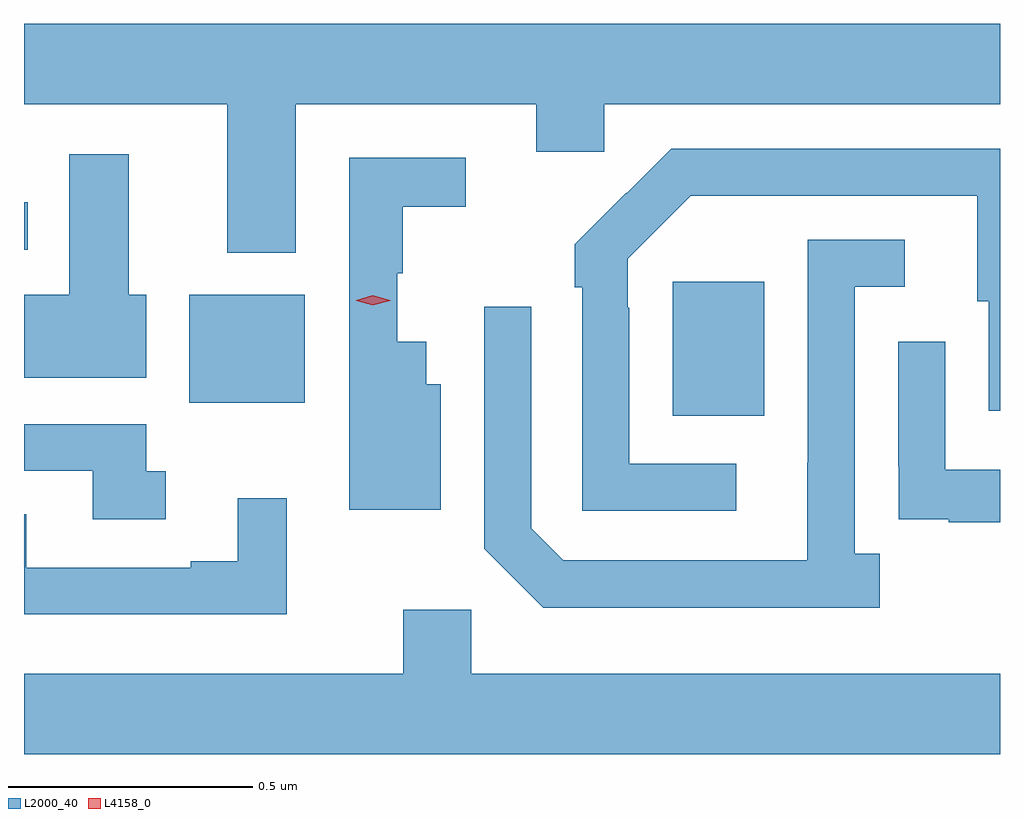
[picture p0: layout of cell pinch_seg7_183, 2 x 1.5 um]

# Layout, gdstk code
import gdstk
lib = gdstk.Library(unit=1e-6, precision=1e-09)
def R(c, l, rs):  # rectangles x0, y0, x1, y1
    for r in rs: c.add(gdstk.rectangle(r[:2], r[2:], *l))
def P(c, l, *ps):  # polygons
    for p in ps: c.add(gdstk.Polygon(p, *l))
L2000_40 = (2000, 40)
L4158_0 = (4158, 0)

pinch_seg7_183 = lib.new_cell('pinch_seg7_183')
R(pinch_seg7_183, L2000_40, [(1134.383,1013.297,1134.571,1013.572), (1133.393,1013.324,1133.629,1013.545), (1133.054,1013.637,1133.062,1013.735)])
P(pinch_seg7_183, L2000_40, [(1133.611,1013.936),(1134.104,1013.936),(1134.104,1013.838),(1134.243,1013.838),(1134.243,1013.936),(1135.054,1013.936),(1135.054,1014.1),(1133.054,1014.1),(1133.054,1013.936),(1133.471,1013.936),(1133.471,1013.631),(1133.611,1013.631)],
  [(1134.514,1013.199),(1134.294,1013.199),(1134.294,1013.519),(1134.291,1013.519),(1134.291,1013.619),(1134.42,1013.748),(1135.007,1013.748),(1135.007,1013.532),(1135.031,1013.532),(1135.031,1013.307),(1135.054,1013.307),(1135.054,1013.844),(1134.38,1013.844),(1134.289,1013.753),(1134.288,1013.754),(1134.183,1013.649),(1134.183,1013.561),(1134.198,1013.561),(1134.198,1013.103),(1134.514,1013.103)],
  [(1133.305,1013.545),(1133.269,1013.545),(1133.269,1013.833),(1133.147,1013.833),(1133.147,1013.545),(1133.054,1013.545),(1133.054,1013.375),(1133.305,1013.375)],
  [(1133.908,1013.362),(1133.878,1013.362),(1133.878,1013.449),(1133.819,1013.449),(1133.819,1013.589),(1133.83,1013.589),(1133.83,1013.725),(1133.959,1013.725),(1133.959,1013.826),(1133.721,1013.826),(1133.721,1013.328),(1133.72,1013.328),(1133.72,1013.105),(1133.908,1013.105)],
  [(1134.808,1013.014),(1134.756,1013.014),(1134.756,1013.562),(1134.859,1013.562),(1134.859,1013.658),(1134.66,1013.658),(1134.66,1013.201),(1134.659,1013.201),(1134.659,1013.001),(1134.159,1013.001),(1134.093,1013.067),(1134.093,1013.521),(1133.997,1013.521),(1133.997,1013.025),(1134.118,1012.904),(1134.808,1012.904)],
  [(1135.054,1013.187),(1134.942,1013.187),(1134.942,1013.449),(1134.846,1013.449),(1134.846,1013.194),(1134.847,1013.194),(1134.847,1013.085),(1134.949,1013.085),(1134.949,1013.079),(1135.054,1013.079)],
  [(1133.344,1013.183),(1133.305,1013.183),(1133.305,1013.28),(1133.054,1013.28),(1133.054,1013.184),(1133.195,1013.184),(1133.195,1013.085),(1133.344,1013.085)],
  [(1133.592,1013.128),(1133.492,1013.128),(1133.492,1012.999),(1133.396,1012.999),(1133.396,1012.986),(1133.059,1012.986),(1133.059,1013.095),(1133.054,1013.095),(1133.054,1012.89),(1133.592,1012.89)],
  [(1135.054,1012.768),(1133.97,1012.768),(1133.97,1012.9),(1133.831,1012.9),(1133.831,1012.768),(1133.054,1012.768),(1133.054,1012.604),(1135.054,1012.604)])
P(pinch_seg7_183, L4158_0, [(1133.769,1013.524),(1133.735,1013.533),(1133.735,1013.534),(1133.735,1013.534),(1133.769,1013.544),(1133.804,1013.534),(1133.804,1013.534),(1133.804,1013.533)])

lib.write_gds('pinch_seg7_183.gds')
